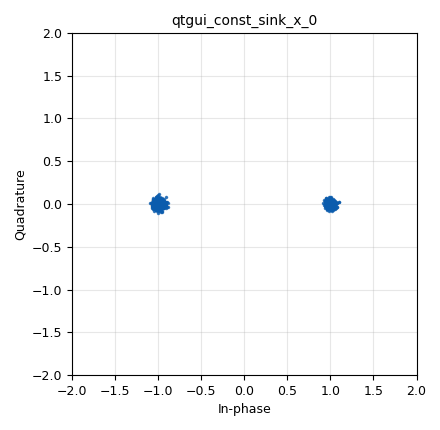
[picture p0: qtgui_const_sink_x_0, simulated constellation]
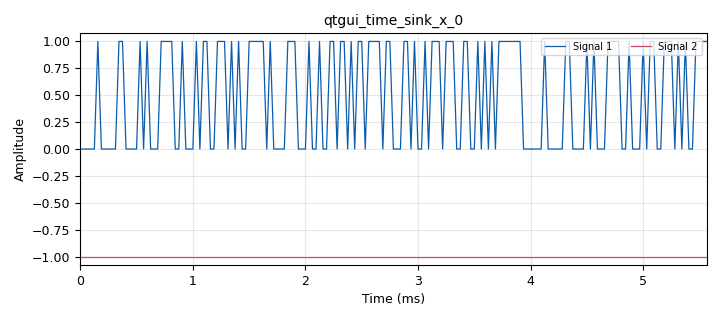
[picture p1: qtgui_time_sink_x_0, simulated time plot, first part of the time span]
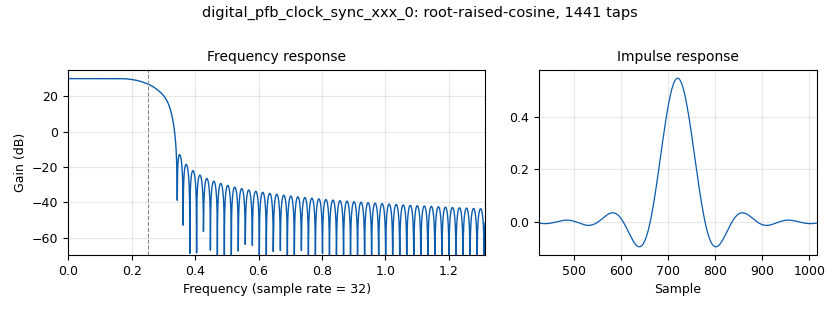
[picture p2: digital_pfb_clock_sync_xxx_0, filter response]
options:
  parameters:
    author: Nolan
    generate_options: qt_gui
    id: enc
    output_language: python
    title: CC Encoding
  states: {}

blocks:
- name: arity
  id: variable
  parameters:
    value: '2'
  states: {}
- name: bpsk_mod
  id: variable_constellation
  parameters:
    const_points: '[-1+0j, 1+0j]'
    precision: '8'
    sym_map: '[0, 1]'
    type: bpsk
  states: {}
- name: cc_dec
  id: variable_cc_decoder_def
  parameters:
    framebits: '2048'
    k: '7'
    mode: fec.CC_STREAMING
    ndim: '0'
    padding: 'False'
    polys: '[79,109]'
    rate: '2'
    state_end: '-1'
    state_start: '0'
  states: {state: disabled}
- name: cc_enc
  id: variable_cc_encoder_def
  parameters:
    framebits: '8'
    k: '7'
    mode: fec.CC_STREAMING
    ndim: '0'
    padding: 'True'
    polys: '[79,-109]'
    rate: '2'
    state_start: '0'
  states: {state: disabled}
- name: delay_range
  id: variable_qtgui_range
  parameters:
    orient: Qt.Horizontal
    rangeType: int
    start: '0'
    step: '1'
    stop: '1000'
    value: '0'
  states: {}
- name: nfilts
  id: variable
  parameters:
    value: '32'
  states: {}
- name: noise_voltage
  id: variable_qtgui_range
  parameters:
    orient: Qt.Horizontal
    start: '0'
    step: '1e-3'
    stop: '1'
    value: '63e-3'
  states: {}
- name: rrc_taps
  id: variable
  parameters:
    value: firdes.root_raised_cosine(nfilts, nfilts, 1.0/float(sps), 0.35, 45*nfilts)
  states: {}
- name: samp_rate
  id: variable
  parameters:
    value: '32000'
  states: {}
- name: sps
  id: variable
  parameters:
    value: '2'
  states: {}
- name: timing_loop_bandwidth
  id: variable_qtgui_range
  parameters:
    orient: Qt.Horizontal
    start: '1e-3'
    step: '1e-3'
    stop: '200e-3'
    value: '63e-3'
  states: {}
- name: blocks_char_to_float_0
  id: blocks_char_to_float
  parameters:
    scale: '1'
  states: {}
- name: blocks_char_to_float_1
  id: blocks_char_to_float
  parameters:
    scale: '1'
  states: {}
- name: blocks_char_to_float_1_0
  id: blocks_char_to_float
  parameters:
    scale: '1'
  states: {}
- name: blocks_delay_0
  id: blocks_delay
  parameters:
    delay: int(delay_range)
    type: float
  states: {}
- name: blocks_null_sink_0
  id: blocks_null_sink
  parameters:
    type: float
  states: {}
- name: blocks_throttle_1
  id: blocks_throttle
  parameters:
    samples_per_second: samp_rate
    type: complex
  states: {}
- name: blocks_throttle_1_0
  id: blocks_throttle
  parameters:
    samples_per_second: samp_rate
    type: float
  states: {}
- name: blocks_unpacked_to_packed_xx_0
  id: blocks_unpacked_to_packed_xx
  parameters:
    bits_per_chunk: '96'
    endianness: gr.GR_LSB_FIRST
    type: byte
  states: {state: disabled}
- name: channels_channel_model_0
  id: channels_channel_model
  parameters:
    epsilon: '1.0'
    freq_offset: '0.0'
    noise_voltage: noise_voltage
    seed: '0'
    taps: '1'
  states: {}
- name: digital_constellation_decoder_cb_0
  id: digital_constellation_decoder_cb
  parameters:
    constellation: bpsk_mod
  states: {}
- name: digital_constellation_modulator_0
  id: digital_constellation_modulator
  parameters:
    constellation: bpsk_mod
    differential: 'True'
    excess_bw: '0.35'
    samples_per_symbol: sps
    verbose: 'True'
  states: {}
- name: digital_costas_loop_cc_0
  id: digital_costas_loop_cc
  parameters:
    order: arity
    w: timing_loop_bandwidth
  states: {}
- name: digital_glfsr_source_x_0_0
  id: digital_glfsr_source_x
  parameters:
    degree: '7'
    mask: '96'
    repeat: 'True'
    seed: '1'
    type: byte
  states: {}
- name: digital_pfb_clock_sync_xxx_0
  id: digital_pfb_clock_sync_xxx
  parameters:
    filter_size: nfilts
    init_phase: '16'
    loop_bw: timing_loop_bandwidth
    max_dev: '1.5'
    osps: '1'
    sps: sps
    taps: rrc_taps
    type: ccf
  states: {}
- name: dtv_dvbt_convolutional_deinterleaver_0
  id: dtv_dvbt_convolutional_deinterleaver
  parameters:
    I: '12'
    M: '17'
    blocks: '136'
  states: {state: disabled}
- name: dtv_dvbt_convolutional_interleaver_0
  id: dtv_dvbt_convolutional_interleaver
  parameters:
    I: '1'
    M: '7'
    blocks: '1'
  states: {state: disabled}
- name: fec_decode_ccsds_27_fb_0
  id: fec_decode_ccsds_27_fb
  parameters: {}
  states: {}
- name: fec_encode_ccsds_27_bb_0
  id: fec_encode_ccsds_27_bb
  parameters: {}
  states: {}
- name: fec_generic_decoder_0
  id: fec_generic_decoder
  parameters:
    decoder: tpc_dec
    itype: byte
    otype: byte
  states: {state: disabled}
- name: fec_generic_encoder_0
  id: fec_generic_encoder
  parameters:
    encoder: cc_enc
    itype: byte
    otype: byte
  states: {state: disabled}
- name: qtgui_const_sink_x_0
  id: qtgui_const_sink_x
  parameters:
    gui_hint: tabs@1
    size: '1024'
    type: complex
  states: {}
- name: qtgui_time_sink_x_0
  id: qtgui_time_sink_x
  parameters:
    gui_hint: tabs@0
    nconnections: '2'
    size: '1024'
    srate: samp_rate
    type: float
  states: {}
- name: tabs
  id: qtgui_tab_widget
  parameters:
    label0: coding
    label1: modulation
    num_tabs: '2'
  states: {}
- name: trellis_viterbi_combined_xx_0
  id: trellis_viterbi_combined_xx
  parameters:
    final_state: '-1'
    init_state: '0'
    metric_type: digital.TRELLIS_EUCLIDEAN
    out_type: i
    type: c
  states: {state: disabled}
- name: virtual_sink_0
  id: virtual_sink
  parameters:
    stream_id: demod
  states: {}
- name: virtual_sink_0_0
  id: virtual_sink
  parameters:
    stream_id: packet_signal
  states: {}
- name: virtual_source_2
  id: virtual_source
  parameters:
    stream_id: packet_signal
  states: {}
- name: virtual_source_2_0
  id: virtual_source
  parameters:
    stream_id: demod
  states: {}

connections:
- [blocks_char_to_float_0, '0', qtgui_time_sink_x_0, '0']
- [blocks_char_to_float_1, '0', fec_decode_ccsds_27_fb_0, '0']
- [blocks_char_to_float_1_0, '0', blocks_delay_0, '0']
- [blocks_delay_0, '0', blocks_throttle_1_0, '0']
- [blocks_throttle_1, '0', channels_channel_model_0, '0']
- [blocks_throttle_1_0, '0', blocks_null_sink_0, '0']
- [blocks_throttle_1_0, '0', qtgui_time_sink_x_0, '1']
- [blocks_unpacked_to_packed_xx_0, '0', dtv_dvbt_convolutional_interleaver_0, '0']
- [channels_channel_model_0, '0', digital_pfb_clock_sync_xxx_0, '0']
- [digital_constellation_decoder_cb_0, '0', virtual_sink_0, '0']
- [digital_constellation_modulator_0, '0', blocks_throttle_1, '0']
- [digital_costas_loop_cc_0, '0', digital_constellation_decoder_cb_0, '0']
- [digital_costas_loop_cc_0, '0', qtgui_const_sink_x_0, '0']
- [digital_glfsr_source_x_0_0, '0', blocks_char_to_float_0, '0']
- [digital_glfsr_source_x_0_0, '0', blocks_unpacked_to_packed_xx_0, '0']
- [digital_glfsr_source_x_0_0, '0', fec_encode_ccsds_27_bb_0, '0']
- [digital_glfsr_source_x_0_0, '0', fec_generic_encoder_0, '0']
- [digital_pfb_clock_sync_xxx_0, '0', digital_costas_loop_cc_0, '0']
- [dtv_dvbt_convolutional_interleaver_0, '0', virtual_sink_0_0, '0']
- [fec_decode_ccsds_27_fb_0, '0', blocks_char_to_float_1_0, '0']
- [fec_encode_ccsds_27_bb_0, '0', virtual_sink_0_0, '0']
- [fec_generic_decoder_0, '0', blocks_delay_0, '0']
- [fec_generic_encoder_0, '0', virtual_sink_0_0, '0']
- [virtual_source_2, '0', digital_constellation_modulator_0, '0']
- [virtual_source_2_0, '0', blocks_char_to_float_1, '0']
- [virtual_source_2_0, '0', fec_generic_decoder_0, '0']

metadata:
  file_format: 1
